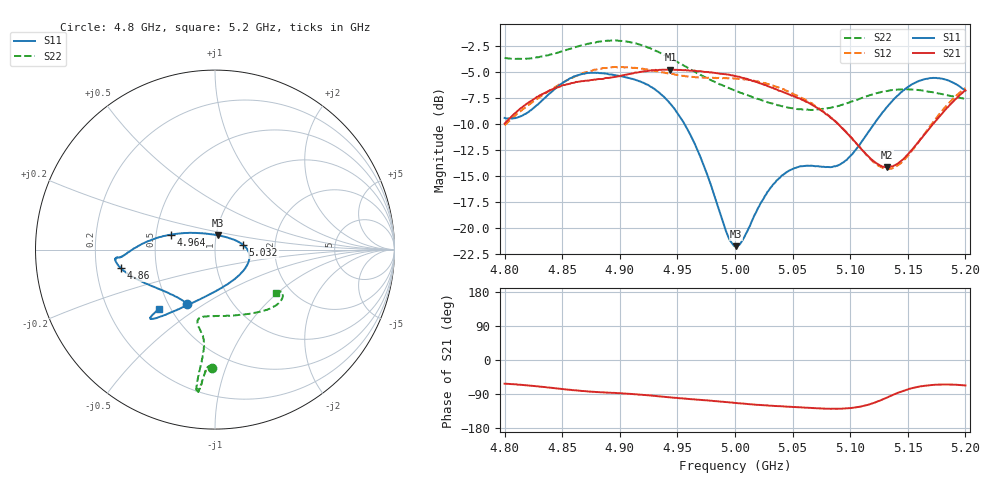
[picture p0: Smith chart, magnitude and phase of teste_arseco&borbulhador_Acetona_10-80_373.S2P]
! Network Analyzer HP8722D
! Hewlett-Packard
! Data name: Linha & Wilkinson
! Saver's name: Rodrigo Anjos
! Comments: Teste da utilização de aquisição
! continua pelo VNA HP8722D
! Time and date: 17/4/2025 17:28
!  Frequency  S11  S21  S12  S22
# HZ  S  MA R 50
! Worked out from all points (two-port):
!   401 points, 4.8 GHz to 5.2 GHz, reference 50 ohm
!   highest |S21| = -4.75 dB at 4.944 GHz (marker M1); lowest = -14.2 dB at 5.132 GHz (marker M2)
!   |S21| within 3 dB of the highest: 4.823 GHz to 5.06 GHz (236.7 MHz wide, 4.79 % of centre); 5.190226 GHz to end of sweep
!   lowest |S11| = -21.8 dB at 5.001 GHz (marker M3), VSWR 1.18, Z = 50.9 + j8.2 ohm
!   |S11| at or under -10 dB: 4.956 GHz to 5.121 GHz (164.7 MHz wide, 3.27 % of centre)
!   |S22| runs from -8.6 to -1.9 dB; largest |S21 - S12| = 0.87
!   S11 on the Smith chart (normalised r, x): 4.8 GHz: 0.62, -0.42; 4.86 GHz: 0.30, -0.09; 4.964 GHz: 0.60, +0.11; 5.032 GHz: 1.37, +0.07; 5.2 GHz: 0.43, -0.36
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4.8e9  0.3382 -117.3  0.3176 -62.5  0.3116 -176.7  0.6585 -91.5
4.819e9  0.356 -137.6  0.3951 -66.9  0.3834 -176.4  0.6538 -93.2
4.86e9  0.5357 -168.9  0.4995 -79.4  0.5329 -179.8  0.7375 -95.6
4.867e9  0.5501 -171.5  0.509 -81.7  0.5529 179.0  0.7569 -95.9
4.9e9  0.5385 -175.4  0.5379 -87.7  0.5956 172.9  0.7957 -97.3
4.934e9  0.4487 179.0  0.5764 -95.7  0.5654 169.8  0.701 -97.5
4.944e9  0.3953 174.5  0.5787 -98.8  0.552 169.9  0.6585 -97.1
4.964e9  0.261 161.4  0.571 -103.8  0.5326 171.7  0.5689 -96.5
4.993e9  0.09375 111.1  0.5477 -111.3  0.5259 173.9  0.4753 -98.8
5e9  0.08208 83.1  0.538 -113.3  0.5238 174.1  0.4591 -100.1
5.001e9  0.08145 79.0  0.5375 -113.4  0.5232 174.0  0.4572 -100.3
5.006e9  0.08613 59.6  0.5282 -114.7  0.5213 174.0  0.4456 -101.4
5.032e9  0.1583 9.6  0.4731 -120.8  0.4846 172.8  0.3972 -103.3
5.048e9  0.1896 -5.3  0.4369 -123.3  0.4486 172.2  0.3777 -99.1
5.067e9  0.1989 -25.7  0.3905 -126.8  0.3969 172.1  0.3695 -88.2
5.096e9  0.2107 -75.9  0.2903 -127.9  0.2913 174.8  0.3963 -65.8
5.119e9  0.3066 -110.4  0.2124 -114.7  0.2102 -170.0  0.4384 -50.6
5.132e9  0.3822 -120.8  0.1957 -99.1  0.1919 -152.4  0.4554 -44.2
5.134e9  0.3934 -122.0  0.196 -96.2  0.192 -149.3  0.4586 -43.4
5.146e9  0.4583 -127.4  0.2136 -81.4  0.2092 -132.0  0.4649 -38.9
5.168e9  0.5247 -132.5  0.2974 -67.0  0.3008 -113.1  0.4525 -33.5
5.2e9  0.4568 -133.5  0.4597 -67.2  0.471 -109.3  0.4173 -35.0
